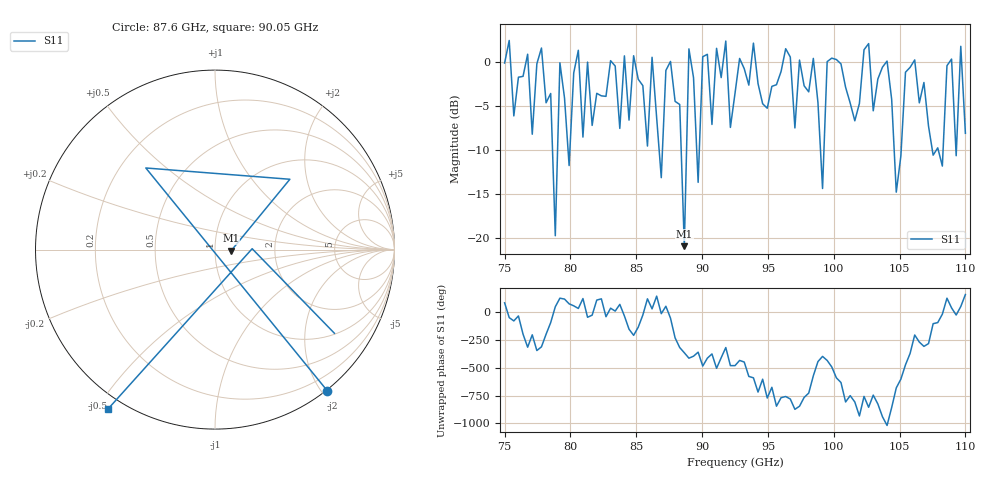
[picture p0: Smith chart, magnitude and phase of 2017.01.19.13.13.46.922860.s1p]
!Created with skrf (http://scikit-rf.org).
# GHz S RI R 50.0
!freq ReS11 ImS11
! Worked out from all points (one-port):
!   101 points, 75 GHz to 110 GHz, reference 50 ohm
!   lowest |S11| = -20.9 dB at 88.65 GHz (marker M1), VSWR 1.20, Z = 59.9 - j0.767 ohm
!   |S11| at or under -10 dB: 78.63891 GHz to 79.02359 GHz (384.7 MHz wide, 0.488 % of centre); 79.81926 GHz to 79.95898 GHz (139.7 MHz wide, 0.175 % of centre); 104.6 GHz to 105.1 GHz (533.8 MHz wide, 0.509 % of centre) (the widest 3 of 10)
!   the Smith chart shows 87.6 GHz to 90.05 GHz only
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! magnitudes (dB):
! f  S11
! 75 GHz  -0.1
! 77.1 GHz  -8.2
! 77.8 GHz  1.6
! 78.5 GHz  -3.6
! 78.85 GHz  -19.7
! 79.2 GHz  -0.1
! 79.55 GHz  -4.1
! 83.75 GHz  -7.6
! 88.3 GHz  -4.8
! 88.65 GHz  -20.9
! 89 GHz  1.5
! 89.7 GHz  -13.7
! 90.05 GHz  0.6
! 92.5 GHz  -3.6
! 96.35 GHz  1.5
! 97.05 GHz  -7.5
! 98.45 GHz  0.4
! 99.15 GHz  -14.4
! 99.5 GHz  0.0
! 101.2 GHz  -4.7
! 104 GHz  0.1
! 104.8 GHz  -14.8
! 105.8 GHz  -0.6
! 108.2 GHz  -11.8
! 109 GHz  0.3
! 109.3 GHz  -10.7
! 109.7 GHz  1.7
! 110 GHz  -8.1
